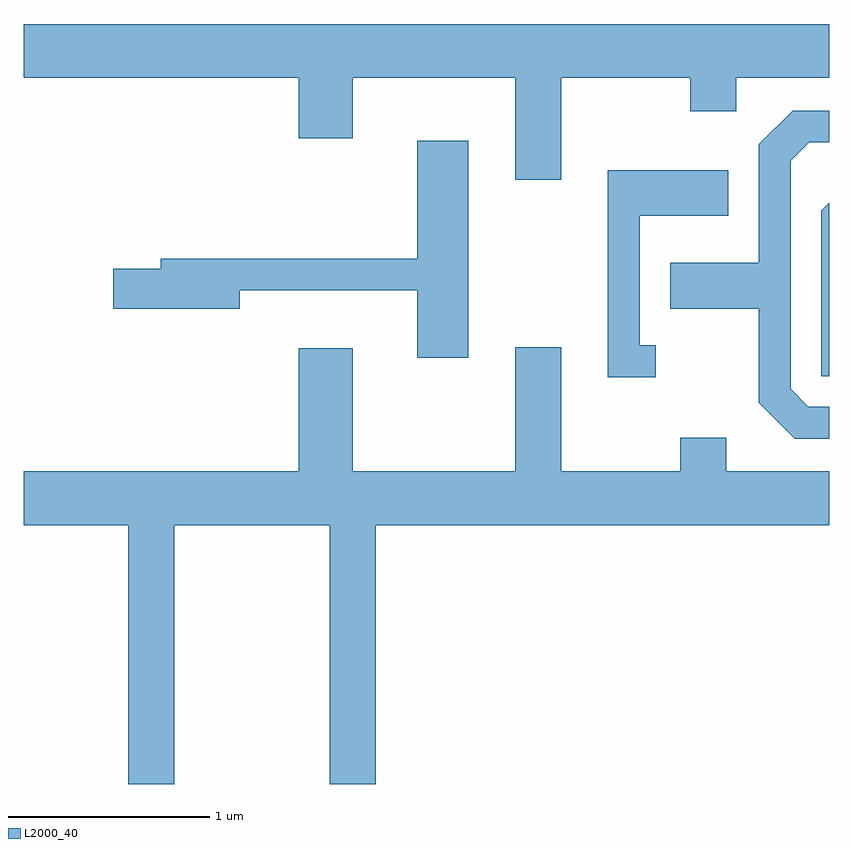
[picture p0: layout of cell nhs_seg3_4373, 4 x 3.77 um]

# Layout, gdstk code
import gdstk
lib = gdstk.Library(unit=1e-6, precision=1e-09)
def P(c, l, *ps):  # polygons
    for p in ps: c.add(gdstk.Polygon(p, *l))
L2000_40 = (2000, 40)

nhs_seg3_4373 = lib.new_cell('nhs_seg3_4373')
P(nhs_seg3_4373, L2000_40, [(316.279,1161.536),(316.921,1161.536),(316.921,1161.371),(317.149,1161.371),(317.149,1161.536),(317.611,1161.536),(317.611,1161.804),(313.611,1161.804),(313.611,1161.536),(314.976,1161.536),(314.976,1161.236),(315.244,1161.236),(315.244,1161.536),(316.051,1161.536),(316.051,1161.031),(316.279,1161.031)],
  [(317.611,1159.904),(317.507,1159.904),(317.419,1159.992),(317.419,1161.124),(317.512,1161.216),(317.611,1161.216),(317.611,1161.374),(317.429,1161.374),(317.261,1161.207),(317.261,1160.619),(316.821,1160.619),(316.821,1160.391),(317.261,1160.391),(317.261,1159.924),(317.439,1159.746),(317.611,1159.746)],
  [(315.819,1161.224),(315.566,1161.224),(315.566,1160.639),(314.291,1160.639),(314.291,1160.589),(314.056,1160.589),(314.056,1160.391),(314.684,1160.391),(314.684,1160.481),(315.566,1160.481),(315.566,1160.146),(315.819,1160.146)],
  [(316.748,1160.209),(316.669,1160.209),(316.669,1160.851),(317.109,1160.851),(317.109,1161.079),(316.511,1161.079),(316.511,1160.051),(316.748,1160.051)],
  [(317.611,1160.917),(317.571,1160.877),(317.571,1160.056),(317.611,1160.056)],
  [(315.359,1159.316),(317.611,1159.316),(317.611,1159.584),(317.099,1159.584),(317.099,1159.749),(316.871,1159.749),(316.871,1159.584),(316.279,1159.584),(316.279,1160.199),(316.051,1160.199),(316.051,1159.584),(315.244,1159.584),(315.244,1160.194),(314.976,1160.194),(314.976,1159.584),(313.611,1159.584),(313.611,1159.316),(314.131,1159.316),(314.131,1158.031),(314.359,1158.031),(314.359,1159.316),(315.131,1159.316),(315.131,1158.031),(315.359,1158.031)])

lib.write_gds('nhs_seg3_4373.gds')
